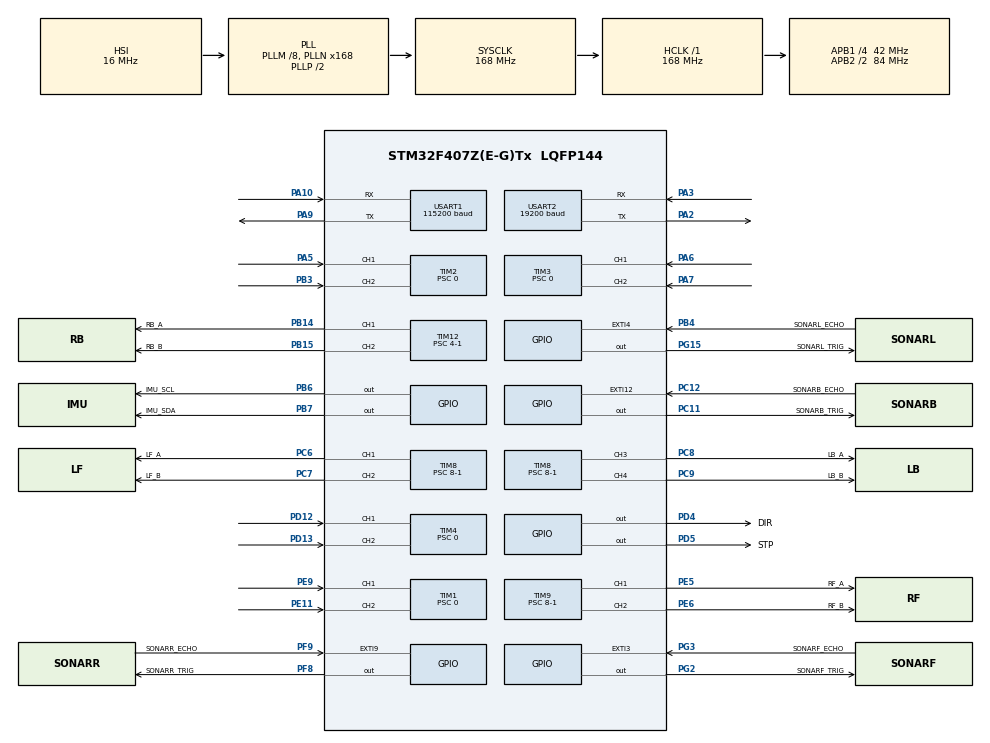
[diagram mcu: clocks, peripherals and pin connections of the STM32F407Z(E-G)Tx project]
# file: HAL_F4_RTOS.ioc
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FREERTOS.Tasks01=defaultTask,8,128,StartDefaultTask,Default,NULL,Dynamic,NULL,NULL;IMUData,40,512,StartIMUData,Default,NULL,Dynamic,NULL,NULL;wheelControl,24,1024,StartWheelControl,Default,NULL,Dynamic,NULL,NULL;wheelSpeed,40,512,StartWheelSpeed,Default,NULL,Dynamic,NULL,NULL;moveDecision,32,512,StartDecision,Default,NULL,Dynamic,NULL,NULL;stepperControl,24,512,StartStepperControl,Default,NULL,Dynamic,NULL,NULL;ultraSonar,40,1024,StartUltraSonar,Default,NULL,Dynamic,NULL,NULL;openmvCom,40,512,StartOpenmvCom,Default,NULL,Dynamic,NULL,NULL
FREERTOS.configTOTAL_HEAP_SIZE=30720
Mcu.Family=STM32F4
Mcu.Name=STM32F407Z(E-G)Tx
Mcu.Package=LQFP144
NVIC.EXTI15_10_IRQn=true\:5\:0\:false\:false\:true\:true\:true\:true
NVIC.EXTI3_IRQn=true\:5\:0\:false\:false\:true\:true\:true\:true
NVIC.EXTI4_IRQn=true\:5\:0\:false\:false\:true\:true\:true\:true
NVIC.EXTI9_5_IRQn=true\:5\:0\:false\:false\:true\:true\:true\:true
NVIC.PriorityGroup=NVIC_PRIORITYGROUP_4
NVIC.TIM7_IRQn=true\:5\:0\:false\:false\:true\:true\:true\:true
NVIC.TIM8_UP_TIM13_IRQn=true\:0\:0\:false\:false\:true\:false\:false\:true
NVIC.TimeBase=TIM8_UP_TIM13_IRQn
NVIC.TimeBaseIP=TIM13
NVIC.USART1_IRQn=true\:5\:0\:false\:false\:true\:true\:true\:true
NVIC.USART2_IRQn=true\:5\:0\:false\:false\:true\:true\:true\:true
PA0-WKUP.Mode=SYS_WakeUp0
PA0-WKUP.Signal=SYS_WKUP
PA10.Mode=Asynchronous
PA10.Signal=USART1_RX
PA13.Mode=Serial_Wire
PA13.Signal=SYS_JTMS-SWDIO
PA14.Mode=Serial_Wire
PA14.Signal=SYS_JTCK-SWCLK
PA2.Mode=Asynchronous
PA2.Signal=USART2_TX
PA3.Mode=Asynchronous
PA3.Signal=USART2_RX
PA5.Signal=S_TIM2_CH1_ETR
PA6.Signal=S_TIM3_CH1
PA7.Signal=S_TIM3_CH2
PA9.Mode=Asynchronous
PA9.Signal=USART1_TX
PB14.GPIO_Label=RB_A
PB14.Signal=S_TIM12_CH1
PB15.GPIO_Label=RB_B
PB15.Signal=S_TIM12_CH2
PB3.Signal=S_TIM2_CH2
PB4.GPIO_Label=SONARL_ECHO
PB4.GPIO_ModeDefaultEXTI=GPIO_MODE_IT_RISING_FALLING
PB4.GPIO_PuPd=GPIO_NOPULL
PB4.Signal=GPXTI4
PB6.GPIO_Label=IMU_SCL
PB6.GPIO_ModeDefaultOutputPP=GPIO_MODE_OUTPUT_OD
PB6.PinState=GPIO_PIN_SET
PB6.Signal=GPIO_Output
PB7.GPIO_Label=IMU_SDA
PB7.GPIO_ModeDefaultOutputPP=GPIO_MODE_OUTPUT_OD
PB7.PinState=GPIO_PIN_SET
PB7.Signal=GPIO_Output
PC11.GPIO_Label=SONARB_TRIG
PC11.Signal=GPIO_Output
PC12.GPIO_Label=SONARB_ECHO
PC12.GPIO_ModeDefaultEXTI=GPIO_MODE_IT_RISING_FALLING
PC12.GPIO_PuPd=GPIO_NOPULL
PC12.Signal=GPXTI12
PC6.GPIO_Label=LF_A
PC6.Signal=S_TIM8_CH1
PC7.GPIO_Label=LF_B
PC7.Signal=S_TIM8_CH2
PC8.GPIO_Label=LB_A
PC8.Signal=S_TIM8_CH3
PC9.GPIO_Label=LB_B
PC9.Signal=S_TIM8_CH4
PD12.Signal=S_TIM4_CH1
PD13.Signal=S_TIM4_CH2
PD4.GPIO_Label=DIR
PD4.Signal=GPIO_Output
PD5.GPIO_Label=STP
PD5.Signal=GPIO_Output
PE11.Signal=S_TIM1_CH2
PE5.GPIO_Label=RF_A
PE5.Signal=S_TIM9_CH1
PE6.GPIO_Label=RF_B
PE6.Signal=S_TIM9_CH2
PE9.Signal=S_TIM1_CH1
PF8.GPIO_Label=SONARR_TRIG
PF8.Signal=GPIO_Output
PF9.GPIO_Label=SONARR_ECHO
PF9.GPIO_ModeDefaultEXTI=GPIO_MODE_IT_RISING_FALLING
PF9.GPIO_PuPd=GPIO_NOPULL
PF9.Signal=GPXTI9
PG15.GPIO_Label=SONARL_TRIG
PG15.Signal=GPIO_Output
PG2.GPIO_Label=SONARF_TRIG
PG2.Signal=GPIO_Output
PG3.GPIO_Label=SONARF_ECHO
PG3.GPIO_ModeDefaultEXTI=GPIO_MODE_IT_RISING_FALLING
PG3.GPIO_PuPd=GPIO_NOPULL
PG3.Signal=GPXTI3
PH0-OSC_IN.Mode=HSE-External-Oscillator
PH0-OSC_IN.Signal=RCC_OSC_IN
PH1-OSC_OUT.Mode=HSE-External-Oscillator
PH1-OSC_OUT.Signal=RCC_OSC_OUT
ProjectManager.HeapSize=0x200
ProjectManager.StackSize=0x400
ProjectManager.TargetToolchain=MDK-ARM V5.27
RCC.48MHZClocksFreq_Value=84000000
RCC.AHBFreq_Value=168000000
RCC.APB1CLKDivider=RCC_HCLK_DIV4
RCC.APB1Freq_Value=42000000
RCC.APB1TimFreq_Value=84000000
RCC.APB2CLKDivider=RCC_HCLK_DIV2
RCC.APB2Freq_Value=84000000
RCC.APB2TimFreq_Value=168000000
RCC.CortexFreq_Value=168000000
RCC.HCLKFreq_Value=168000000
RCC.HSE_VALUE=25000000
RCC.HSI_VALUE=16000000
RCC.LSE_VALUE=32768
RCC.PLLM=8
RCC.PLLN=168
RCC.SYSCLKFreq_VALUE=168000000
RCC.SYSCLKSource=RCC_SYSCLKSOURCE_PLLCLK
RCC.VCOOutputFreq_Value=336000000
SH.S_TIM12_CH1.0=TIM12_CH1,PWM Generation1 CH1
SH.S_TIM12_CH2.0=TIM12_CH2,PWM Generation2 CH2
SH.S_TIM1_CH1.0=TIM1_CH1,Encoder_Interface
SH.S_TIM1_CH2.0=TIM1_CH2,Encoder_Interface
SH.S_TIM2_CH1_ETR.0=TIM2_CH1,Encoder_Interface
SH.S_TIM2_CH2.0=TIM2_CH2,Encoder_Interface
SH.S_TIM3_CH1.0=TIM3_CH1,Encoder_Interface
SH.S_TIM3_CH2.0=TIM3_CH2,Encoder_Interface
SH.S_TIM4_CH1.0=TIM4_CH1,Encoder_Interface
SH.S_TIM4_CH2.0=TIM4_CH2,Encoder_Interface
SH.S_TIM8_CH1.0=TIM8_CH1,PWM Generation1 CH1
SH.S_TIM8_CH2.0=TIM8_CH2,PWM Generation2 CH2
SH.S_TIM8_CH3.0=TIM8_CH3,PWM Generation3 CH3
SH.S_TIM8_CH4.0=TIM8_CH4,PWM Generation4 CH4
SH.S_TIM9_CH1.0=TIM9_CH1,PWM Generation1 CH1
SH.S_TIM9_CH2.0=TIM9_CH2,PWM Generation2 CH2
TIM1.AutoReloadPreload=TIM_AUTORELOAD_PRELOAD_DISABLE
TIM1.EncoderMode=TIM_ENCODERMODE_TI12
TIM1.Period=5000
TIM1.Prescaler=0
TIM12.AutoReloadPreload=TIM_AUTORELOAD_PRELOAD_ENABLE
TIM12.Channel-PWM\ Generation1\ CH1=TIM_CHANNEL_1
TIM12.Channel-PWM\ Generation2\ CH2=TIM_CHANNEL_2
TIM12.Period=1000
TIM12.Prescaler=4-1
TIM14.AutoReloadPreload=TIM_AUTORELOAD_PRELOAD_ENABLE
TIM14.Period=65535
TIM14.Prescaler=84-1
TIM2.AutoReloadPreload=TIM_AUTORELOAD_PRELOAD_DISABLE
TIM2.EncoderMode=TIM_ENCODERMODE_TI12
TIM2.Period=5000
TIM2.Prescaler=0
TIM3.AutoReloadPreload=TIM_AUTORELOAD_PRELOAD_DISABLE
TIM3.EncoderMode=TIM_ENCODERMODE_TI12
TIM3.Period=5000
TIM3.Prescaler=0
TIM4.AutoReloadPreload=TIM_AUTORELOAD_PRELOAD_DISABLE
TIM4.EncoderMode=TIM_ENCODERMODE_TI12
TIM4.Period=5000
TIM4.Prescaler=0
TIM6.AutoReloadPreload=TIM_AUTORELOAD_PRELOAD_ENABLE
TIM6.Period=65535
TIM6.Prescaler=84-1
TIM7.AutoReloadPreload=TIM_AUTORELOAD_PRELOAD_ENABLE
TIM7.Period=20000
TIM7.Prescaler=84-1
TIM8.AutoReloadPreload=TIM_AUTORELOAD_PRELOAD_ENABLE
TIM8.Channel-PWM\ Generation1\ CH1=TIM_CHANNEL_1
TIM8.Channel-PWM\ Generation2\ CH2=TIM_CHANNEL_2
TIM8.Channel-PWM\ Generation3\ CH3=TIM_CHANNEL_3
TIM8.Channel-PWM\ Generation4\ CH4=TIM_CHANNEL_4
TIM8.Period=1000
TIM8.Prescaler=8-1
TIM9.AutoReloadPreload=TIM_AUTORELOAD_PRELOAD_ENABLE
TIM9.Channel-PWM\ Generation1\ CH1=TIM_CHANNEL_1
TIM9.Channel-PWM\ Generation2\ CH2=TIM_CHANNEL_2
TIM9.Period=1000
TIM9.Prescaler=8-1
USART1.BaudRate=115200
USART1.Mode=MODE_TX_RX
USART1.VirtualMode=VM_ASYNC
USART2.BaudRate=19200
USART2.Mode=MODE_TX_RX
USART2.VirtualMode=VM_ASYNC
VP_FREERTOS_VS_CMSIS_V2.Mode=CMSIS_V2
VP_SYS_VS_tim13.Mode=TIM13
VP_TIM14_VS_ClockSourceINT.Mode=Enable_Timer
VP_TIM6_VS_ClockSourceINT.Mode=Enable_Timer
VP_TIM7_VS_ClockSourceINT.Mode=Enable_Timer
board=custom

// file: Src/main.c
/* USER CODE BEGIN Header */
/**
  ******************************************************************************
  * @file           : main.c
  * @brief          : Main program body
  ******************************************************************************
  * @attention
  *
  * <h2><center>&copy; Copyright (c) 2020 STMicroelectronics.
  * All rights reserved.</center></h2>
  *
  * This software component is licensed by ST under Ultimate Liberty license
  * SLA0044, the "License"; You may not use this file except in compliance with
  * the License. You may obtain a copy of the License at:
  *                             www.st.com/SLA0044
  *
  ******************************************************************************
  */
/* USER CODE END Header */

#include "main.h"
#include "cmsis_os.h"

/* USER CODE BEGIN Includes */
#include "stm32f4xx_hal.h"
#include "stdlib.h"
#include "stdio.h"
#include "math.h"
#include "myMath.h"
#include "pid.h"
#include "oled.h"
#include "bsp.h"
#include "it.h"
#include "motor.h"
#include "stepper.h"
#include "motion.h"
#include "mpu.h"
#include "inv_mpu.h"
#include "inv_mpu_dmp_motion_driver.h"
#include "ultraSonar.h"
/* USER CODE END Includes */

/* USER CODE BEGIN PD */
#define Pi 3.1416f
#define K2 1.414f
#define ANGLE_TH 85.0f
//#define PID_TEST
#define KINE
//#define DECISION_TEST
#define DECISION

/* USER CODE END PD */

TIM_HandleTypeDef htim1;
TIM_HandleTypeDef htim2;
TIM_HandleTypeDef htim3;
TIM_HandleTypeDef htim4;
TIM_HandleTypeDef htim6;
TIM_HandleTypeDef htim7;
TIM_HandleTypeDef htim8;
TIM_HandleTypeDef htim9;
TIM_HandleTypeDef htim12;
TIM_HandleTypeDef htim14;

UART_HandleTypeDef huart1;
UART_HandleTypeDef huart2;

osThreadId_t defaultTaskHandle;
osThreadId_t IMUDataHandle;
osThreadId_t wheelControlHandle;
osThreadId_t wheelSpeedHandle;
osThreadId_t moveDecisionHandle;
osThreadId_t stepperControlHandle;
osThreadId_t ultraSonarHandle;
osThreadId_t openmvComHandle;
/* USER CODE BEGIN PV */
extern MotionState *myRob;
extern Motor *motorLF;
extern Motor *motorLB;
extern Motor *motorRF;
extern Motor *motorRB;
extern Stepper *stepperFront;
extern Sonar *sonarF;
extern Sonar *sonarB;
extern Sonar *sonarL;
extern Sonar *sonarR;
extern ProtocolData *RxData;

float vx = 0.0f,vy = 0.0f,	//cm/s
	omega = 0.0f, // rad/s
	yaw_target = 0.0f;	// deg
float L = 16.0f, R = 3.0f;
int endFlag = 0;

/* USER CODE END PV */

void SystemClock_Config(void);
static void MX_GPIO_Init(void);
static void MX_TIM14_Init(void);
static void MX_TIM1_Init(void);
static void MX_TIM2_Init(void);
static void MX_TIM3_Init(void);
static void MX_TIM4_Init(void);
static void MX_TIM8_Init(void);
static void MX_TIM9_Init(void);
static void MX_TIM12_Init(void);
static void MX_TIM6_Init(void);
static void MX_USART1_UART_Init(void);
static void MX_USART2_UART_Init(void);
static void MX_TIM7_Init(void);
void StartDefaultTask(void *argument);
void StartIMUData(void *argument);
void StartWheelControl(void *argument);
void StartWheelSpeed(void *argument);
void StartDecision(void *argument);
void StartStepperControl(void *argument);
void StartUltraSonar(void *argument);
void StartOpenmvCom(void *argument);

int main(void)
{

  /* MCU Configuration--------------------------------------------------------*/

  /* Reset of all peripherals, Initializes the Flash interface and the Systick. */
  HAL_Init();

  /* Configure the system clock */
  SystemClock_Config();

  /* Initialize all configured peripherals */
  MX_GPIO_Init();
  MX_TIM14_Init();
  MX_TIM1_Init();
  MX_TIM2_Init();
  MX_TIM3_Init();
  MX_TIM4_Init();
  MX_TIM8_Init();
  MX_TIM9_Init();
  MX_TIM12_Init();
  MX_TIM6_Init();
  MX_USART1_UART_Init();
  MX_USART2_UART_Init();
  MX_TIM7_Init();
  /* USER CODE BEGIN 2 */
	BSP_Init();
  /* USER CODE END 2 */

  osKernelInitialize();

  /* Create the thread(s) */
  /* definition and creation of defaultTask */
  const osThreadAttr_t defaultTask_attributes = {
    .name = "defaultTask",
    .priority = (osPriority_t) osPriorityLow,
    .stack_size = 128
  };
  defaultTaskHandle = osThreadNew(StartDefaultTask, NULL, &defaultTask_attributes);

  /* definition and creation of IMUData */
  const osThreadAttr_t IMUData_attributes = {
    .name = "IMUData",
    .priority = (osPriority_t) osPriorityHigh,
    .stack_size = 512
  };
  IMUDataHandle = osThreadNew(StartIMUData, NULL, &IMUData_attributes);

  /* definition and creation of wheelControl */
  const osThreadAttr_t wheelControl_attributes = {
    .name = "wheelControl",
    .priority = (osPriority_t) osPriorityNormal,
    .stack_size = 1024
  };
  wheelControlHandle = osThreadNew(StartWheelControl, NULL, &wheelControl_attributes);

  /* definition and creation of wheelSpeed */
  const osThreadAttr_t wheelSpeed_attributes = {
    .name = "wheelSpeed",
    .priority = (osPriority_t) osPriorityHigh,
    .stack_size = 512
  };
  wheelSpeedHandle = osThreadNew(StartWheelSpeed, NULL, &wheelSpeed_attributes);

  /* definition and creation of moveDecision */
  const osThreadAttr_t moveDecision_attributes = {
    .name = "moveDecision",
    .priority = (osPriority_t) osPriorityAboveNormal,
    .stack_size = 512
  };
  moveDecisionHandle = osThreadNew(StartDecision, NULL, &moveDecision_attributes);

  /* definition and creation of stepperControl */
  const osThreadAttr_t stepperControl_attributes = {
    .name = "stepperControl",
    .priority = (osPriority_t) osPriorityNormal,
    .stack_size = 512
  };
  stepperControlHandle = osThreadNew(StartStepperControl, NULL, &stepperControl_attributes);

  /* definition and creation of ultraSonar */
  const osThreadAttr_t ultraSonar_attributes = {
    .name = "ultraSonar",
    .priority = (osPriority_t) osPriorityHigh,
    .stack_size = 1024
  };
  ultraSonarHandle = osThreadNew(StartUltraSonar, NULL, &ultraSonar_attributes);

  /* definition and creation of openmvCom */
  const osThreadAttr_t openmvCom_attributes = {
    .name = "openmvCom",
    .priority = (osPriority_t) osPriorityHigh,
    .stack_size = 512
  };
  openmvComHandle = osThreadNew(StartOpenmvCom, NULL, &openmvCom_attributes);

  /* Start scheduler */
  osKernelStart();

  /* We should never get here as control is now taken by the scheduler */

  /* Infinite loop */
  while (1)
  {

  }
}

void SystemClock_Config(void)
{
  RCC_OscInitTypeDef RCC_OscInitStruct = {0};
  RCC_ClkInitTypeDef RCC_ClkInitStruct = {0};

  /** Configure the main internal regulator output voltage
  */
  __HAL_RCC_PWR_CLK_ENABLE();
  __HAL_PWR_VOLTAGESCALING_CONFIG(PWR_REGULATOR_VOLTAGE_SCALE1);
  /** Initializes the CPU, AHB and APB busses clocks
  */
  RCC_OscInitStruct.OscillatorType = RCC_OSCILLATORTYPE_HSI;
  RCC_OscInitStruct.HSIState = RCC_HSI_ON;
  RCC_OscInitStruct.HSICalibrationValue = RCC_HSICALIBRATION_DEFAULT;
  RCC_OscInitStruct.PLL.PLLState = RCC_PLL_ON;
  RCC_OscInitStruct.PLL.PLLSource = RCC_PLLSOURCE_HSI;
  RCC_OscInitStruct.PLL.PLLM = 8;
  RCC_OscInitStruct.PLL.PLLN = 168;
  RCC_OscInitStruct.PLL.PLLP = RCC_PLLP_DIV2;
  RCC_OscInitStruct.PLL.PLLQ = 4;
  if (HAL_RCC_OscConfig(&RCC_OscInitStruct) != HAL_OK)
  {
    Error_Handler();
  }
  /** Initializes the CPU, AHB and APB busses clocks
  */
  RCC_ClkInitStruct.ClockType = RCC_CLOCKTYPE_HCLK|RCC_CLOCKTYPE_SYSCLK
                              |RCC_CLOCKTYPE_PCLK1|RCC_CLOCKTYPE_PCLK2;
  RCC_ClkInitStruct.SYSCLKSource = RCC_SYSCLKSOURCE_PLLCLK;
  RCC_ClkInitStruct.AHBCLKDivider = RCC_SYSCLK_DIV1;
  RCC_ClkInitStruct.APB1CLKDivider = RCC_HCLK_DIV4;
  RCC_ClkInitStruct.APB2CLKDivider = RCC_HCLK_DIV2;

  if (HAL_RCC_ClockConfig(&RCC_ClkInitStruct, FLASH_LATENCY_5) != HAL_OK)
  {
    Error_Handler();
  }
}

static void MX_TIM1_Init(void)
{

  TIM_Encoder_InitTypeDef sConfig = {0};
  TIM_MasterConfigTypeDef sMasterConfig = {0};

  htim1.Instance = TIM1;
  htim1.Init.Prescaler = 0;
  htim1.Init.CounterMode = TIM_COUNTERMODE_UP;
  htim1.Init.Period = 5000;
  htim1.Init.ClockDivision = TIM_CLOCKDIVISION_DIV1;
  htim1.Init.RepetitionCounter = 0;
  htim1.Init.AutoReloadPreload = TIM_AUTORELOAD_PRELOAD_DISABLE;
  sConfig.EncoderMode = TIM_ENCODERMODE_TI12;
  sConfig.IC1Polarity = TIM_ICPOLARITY_RISING;
  sConfig.IC1Selection = TIM_ICSELECTION_DIRECTTI;
  sConfig.IC1Prescaler = TIM_ICPSC_DIV1;
  sConfig.IC1Filter = 0;
  sConfig.IC2Polarity = TIM_ICPOLARITY_RISING;
  sConfig.IC2Selection = TIM_ICSELECTION_DIRECTTI;
  sConfig.IC2Prescaler = TIM_ICPSC_DIV1;
  sConfig.IC2Filter = 0;
  if (HAL_TIM_Encoder_Init(&htim1, &sConfig) != HAL_OK)
  {
    Error_Handler();
  }
  sMasterConfig.MasterOutputTrigger = TIM_TRGO_RESET;
  sMasterConfig.MasterSlaveMode = TIM_MASTERSLAVEMODE_DISABLE;
  if (HAL_TIMEx_MasterConfigSynchronization(&htim1, &sMasterConfig) != HAL_OK)
  {
    Error_Handler();
  }

}

static void MX_TIM2_Init(void)
{

  TIM_Encoder_InitTypeDef sConfig = {0};
  TIM_MasterConfigTypeDef sMasterConfig = {0};

  htim2.Instance = TIM2;
  htim2.Init.Prescaler = 0;
  htim2.Init.CounterMode = TIM_COUNTERMODE_UP;
  htim2.Init.Period = 5000;
  htim2.Init.ClockDivision = TIM_CLOCKDIVISION_DIV1;
  htim2.Init.AutoReloadPreload = TIM_AUTORELOAD_PRELOAD_DISABLE;
  sConfig.EncoderMode = TIM_ENCODERMODE_TI12;
  sConfig.IC1Polarity = TIM_ICPOLARITY_RISING;
  sConfig.IC1Selection = TIM_ICSELECTION_DIRECTTI;
  sConfig.IC1Prescaler = TIM_ICPSC_DIV1;
  sConfig.IC1Filter = 0;
  sConfig.IC2Polarity = TIM_ICPOLARITY_RISING;
  sConfig.IC2Selection = TIM_ICSELECTION_DIRECTTI;
  sConfig.IC2Prescaler = TIM_ICPSC_DIV1;
  sConfig.IC2Filter = 0;
  if (HAL_TIM_Encoder_Init(&htim2, &sConfig) != HAL_OK)
  {
    Error_Handler();
  }
  sMasterConfig.MasterOutputTrigger = TIM_TRGO_RESET;
  sMasterConfig.MasterSlaveMode = TIM_MASTERSLAVEMODE_DISABLE;
  if (HAL_TIMEx_MasterConfigSynchronization(&htim2, &sMasterConfig) != HAL_OK)
  {
    Error_Handler();
  }

}

static void MX_TIM3_Init(void)
{

  TIM_Encoder_InitTypeDef sConfig = {0};
  TIM_MasterConfigTypeDef sMasterConfig = {0};

  htim3.Instance = TIM3;
  htim3.Init.Prescaler = 0;
  htim3.Init.CounterMode = TIM_COUNTERMODE_UP;
  htim3.Init.Period = 5000;
  htim3.Init.ClockDivision = TIM_CLOCKDIVISION_DIV1;
  htim3.Init.AutoReloadPreload = TIM_AUTORELOAD_PRELOAD_DISABLE;
  sConfig.EncoderMode = TIM_ENCODERMODE_TI12;
  sConfig.IC1Polarity = TIM_ICPOLARITY_RISING;
  sConfig.IC1Selection = TIM_ICSELECTION_DIRECTTI;
  sConfig.IC1Prescaler = TIM_ICPSC_DIV1;
  sConfig.IC1Filter = 0;
  sConfig.IC2Polarity = TIM_ICPOLARITY_RISING;
  sConfig.IC2Selection = TIM_ICSELECTION_DIRECTTI;
  sConfig.IC2Prescaler = TIM_ICPSC_DIV1;
  sConfig.IC2Filter = 0;
  if (HAL_TIM_Encoder_Init(&htim3, &sConfig) != HAL_OK)
  {
    Error_Handler();
  }
  sMasterConfig.MasterOutputTrigger = TIM_TRGO_RESET;
  sMasterConfig.MasterSlaveMode = TIM_MASTERSLAVEMODE_DISABLE;
  if (HAL_TIMEx_MasterConfigSynchronization(&htim3, &sMasterConfig) != HAL_OK)
  {
    Error_Handler();
  }

}

static void MX_TIM4_Init(void)
{

  TIM_Encoder_InitTypeDef sConfig = {0};
  TIM_MasterConfigTypeDef sMasterConfig = {0};

  htim4.Instance = TIM4;
  htim4.Init.Prescaler = 0;
  htim4.Init.CounterMode = TIM_COUNTERMODE_UP;
  htim4.Init.Period = 5000;
  htim4.Init.ClockDivision = TIM_CLOCKDIVISION_DIV1;
  htim4.Init.AutoReloadPreload = TIM_AUTORELOAD_PRELOAD_DISABLE;
  sConfig.EncoderMode = TIM_ENCODERMODE_TI12;
  sConfig.IC1Polarity = TIM_ICPOLARITY_RISING;
  sConfig.IC1Selection = TIM_ICSELECTION_DIRECTTI;
  sConfig.IC1Prescaler = TIM_ICPSC_DIV1;
  sConfig.IC1Filter = 0;
  sConfig.IC2Polarity = TIM_ICPOLARITY_RISING;
  sConfig.IC2Selection = TIM_ICSELECTION_DIRECTTI;
  sConfig.IC2Prescaler = TIM_ICPSC_DIV1;
  sConfig.IC2Filter = 0;
  if (HAL_TIM_Encoder_Init(&htim4, &sConfig) != HAL_OK)
  {
    Error_Handler();
  }
  sMasterConfig.MasterOutputTrigger = TIM_TRGO_RESET;
  sMasterConfig.MasterSlaveMode = TIM_MASTERSLAVEMODE_DISABLE;
  if (HAL_TIMEx_MasterConfigSynchronization(&htim4, &sMasterConfig) != HAL_OK)
  {
    Error_Handler();
  }

}

static void MX_TIM6_Init(void)
{

  TIM_MasterConfigTypeDef sMasterConfig = {0};

  htim6.Instance = TIM6;
  htim6.Init.Prescaler = 84-1;
  htim6.Init.CounterMode = TIM_COUNTERMODE_UP;
  htim6.Init.Period = 65535;
  htim6.Init.AutoReloadPreload = TIM_AUTORELOAD_PRELOAD_ENABLE;
  if (HAL_TIM_Base_Init(&htim6) != HAL_OK)
  {
    Error_Handler();
  }
  sMasterConfig.MasterOutputTrigger = TIM_TRGO_RESET;
  sMasterConfig.MasterSlaveMode = TIM_MASTERSLAVEMODE_DISABLE;
  if (HAL_TIMEx_MasterConfigSynchronization(&htim6, &sMasterConfig) != HAL_OK)
  {
    Error_Handler();
  }

}

static void MX_TIM7_Init(void)
{

  TIM_MasterConfigTypeDef sMasterConfig = {0};

  htim7.Instance = TIM7;
  htim7.Init.Prescaler = 84-1;
  htim7.Init.CounterMode = TIM_COUNTERMODE_UP;
  htim7.Init.Period = 20000;
  htim7.Init.AutoReloadPreload = TIM_AUTORELOAD_PRELOAD_ENABLE;
  if (HAL_TIM_Base_Init(&htim7) != HAL_OK)
  {
    Error_Handler();
  }
  sMasterConfig.MasterOutputTrigger = TIM_TRGO_RESET;
  sMasterConfig.MasterSlaveMode = TIM_MASTERSLAVEMODE_DISABLE;
  if (HAL_TIMEx_MasterConfigSynchronization(&htim7, &sMasterConfig) != HAL_OK)
  {
    Error_Handler();
  }

}

static void MX_TIM8_Init(void)
{

  TIM_MasterConfigTypeDef sMasterConfig = {0};
  TIM_OC_InitTypeDef sConfigOC = {0};
  TIM_BreakDeadTimeConfigTypeDef sBreakDeadTimeConfig = {0};

  htim8.Instance = TIM8;
  htim8.Init.Prescaler = 8-1;
  htim8.Init.CounterMode = TIM_COUNTERMODE_UP;
  htim8.Init.Period = 1000;
  htim8.Init.ClockDivision = TIM_CLOCKDIVISION_DIV1;
  htim8.Init.RepetitionCounter = 0;
  htim8.Init.AutoReloadPreload = TIM_AUTORELOAD_PRELOAD_ENABLE;
  if (HAL_TIM_PWM_Init(&htim8) != HAL_OK)
  {
    Error_Handler();
  }
  sMasterConfig.MasterOutputTrigger = TIM_TRGO_RESET;
  sMasterConfig.MasterSlaveMode = TIM_MASTERSLAVEMODE_DISABLE;
  if (HAL_TIMEx_MasterConfigSynchronization(&htim8, &sMasterConfig) != HAL_OK)
  {
    Error_Handler();
  }
  sConfigOC.OCMode = TIM_OCMODE_PWM1;
  sConfigOC.Pulse = 0;
  sConfigOC.OCPolarity = TIM_OCPOLARITY_HIGH;
  sConfigOC.OCNPolarity = TIM_OCNPOLARITY_HIGH;
  sConfigOC.OCFastMode = TIM_OCFAST_DISABLE;
  sConfigOC.OCIdleState = TIM_OCIDLESTATE_RESET;
  sConfigOC.OCNIdleState = TIM_OCNIDLESTATE_RESET;
  if (HAL_TIM_PWM_ConfigChannel(&htim8, &sConfigOC, TIM_CHANNEL_1) != HAL_OK)
  {
    Error_Handler();
  }
  if (HAL_TIM_PWM_ConfigChannel(&htim8, &sConfigOC, TIM_CHANNEL_2) != HAL_OK)
  {
    Error_Handler();
  }
  if (HAL_TIM_PWM_ConfigChannel(&htim8, &sConfigOC, TIM_CHANNEL_3) != HAL_OK)
  {
    Error_Handler();
  }
  if (HAL_TIM_PWM_ConfigChannel(&htim8, &sConfigOC, TIM_CHANNEL_4) != HAL_OK)
  {
    Error_Handler();
  }
  sBreakDeadTimeConfig.OffStateRunMode = TIM_OSSR_DISABLE;
  sBreakDeadTimeConfig.OffStateIDLEMode = TIM_OSSI_DISABLE;
  sBreakDeadTimeConfig.LockLevel = TIM_LOCKLEVEL_OFF;
  sBreakDeadTimeConfig.DeadTime = 0;
  sBreakDeadTimeConfig.BreakState = TIM_BREAK_DISABLE;
  sBreakDeadTimeConfig.BreakPolarity = TIM_BREAKPOLARITY_HIGH;
  sBreakDeadTimeConfig.AutomaticOutput = TIM_AUTOMATICOUTPUT_DISABLE;
  if (HAL_TIMEx_ConfigBreakDeadTime(&htim8, &sBreakDeadTimeConfig) != HAL_OK)
  {
    Error_Handler();
  }
  HAL_TIM_MspPostInit(&htim8);

}

static void MX_TIM9_Init(void)
{

  TIM_OC_InitTypeDef sConfigOC = {0};

  htim9.Instance = TIM9;
  htim9.Init.Prescaler = 8-1;
  htim9.Init.CounterMode = TIM_COUNTERMODE_UP;
  htim9.Init.Period = 1000;
  htim9.Init.ClockDivision = TIM_CLOCKDIVISION_DIV1;
  htim9.Init.AutoReloadPreload = TIM_AUTORELOAD_PRELOAD_ENABLE;
  if (HAL_TIM_PWM_Init(&htim9) != HAL_OK)
  {
    Error_Handler();
  }
  sConfigOC.OCMode = TIM_OCMODE_PWM1;
  sConfigOC.Pulse = 0;
  sConfigOC.OCPolarity = TIM_OCPOLARITY_HIGH;
  sConfigOC.OCFastMode = TIM_OCFAST_DISABLE;
  if (HAL_TIM_PWM_ConfigChannel(&htim9, &sConfigOC, TIM_CHANNEL_1) != HAL_OK)
  {
    Error_Handler();
  }
  if (HAL_TIM_PWM_ConfigChannel(&htim9, &sConfigOC, TIM_CHANNEL_2) != HAL_OK)
  {
    Error_Handler();
  }
  HAL_TIM_MspPostInit(&htim9);

}

static void MX_TIM12_Init(void)
{

  TIM_OC_InitTypeDef sConfigOC = {0};

  htim12.Instance = TIM12;
  htim12.Init.Prescaler = 4-1;
  htim12.Init.CounterMode = TIM_COUNTERMODE_UP;
  htim12.Init.Period = 1000;
  htim12.Init.ClockDivision = TIM_CLOCKDIVISION_DIV1;
  htim12.Init.AutoReloadPreload = TIM_AUTORELOAD_PRELOAD_ENABLE;
  if (HAL_TIM_PWM_Init(&htim12) != HAL_OK)
  {
    Error_Handler();
  }
  sConfigOC.OCMode = TIM_OCMODE_PWM1;
  sConfigOC.Pulse = 0;
  sConfigOC.OCPolarity = TIM_OCPOLARITY_HIGH;
  sConfigOC.OCFastMode = TIM_OCFAST_DISABLE;
  if (HAL_TIM_PWM_ConfigChannel(&htim12, &sConfigOC, TIM_CHANNEL_1) != HAL_OK)
  {
    Error_Handler();
  }
  if (HAL_TIM_PWM_ConfigChannel(&htim12, &sConfigOC, TIM_CHANNEL_2) != HAL_OK)
  {
    Error_Handler();
  }
  HAL_TIM_MspPostInit(&htim12);

}

static void MX_TIM14_Init(void)
{

  htim14.Instance = TIM14;
  htim14.Init.Prescaler = 84-1;
  htim14.Init.CounterMode = TIM_COUNTERMODE_UP;
  htim14.Init.Period = 65535;
  htim14.Init.ClockDivision = TIM_CLOCKDIVISION_DIV1;
  htim14.Init.AutoReloadPreload = TIM_AUTORELOAD_PRELOAD_ENABLE;
  if (HAL_TIM_Base_Init(&htim14) != HAL_OK)
  {
    Error_Handler();
  }

}

static void MX_USART1_UART_Init(void)
{

  huart1.Instance = USART1;
  huart1.Init.BaudRate = 115200;
  huart1.Init.WordLength = UART_WORDLENGTH_8B;
  huart1.Init.StopBits = UART_STOPBITS_1;
  huart1.Init.Parity = UART_PARITY_NONE;
  huart1.Init.Mode = UART_MODE_TX_RX;
  huart1.Init.HwFlowCtl = UART_HWCONTROL_NONE;
  huart1.Init.OverSampling = UART_OVERSAMPLING_16;
  if (HAL_UART_Init(&huart1) != HAL_OK)
  {
    Error_Handler();
  }

}

static void MX_USART2_UART_Init(void)
{

  huart2.Instance = USART2;
  huart2.Init.BaudRate = 19200;
  huart2.Init.WordLength = UART_WORDLENGTH_8B;
  huart2.Init.StopBits = UART_STOPBITS_1;
  huart2.Init.Parity = UART_PARITY_NONE;
  huart2.Init.Mode = UART_MODE_TX_RX;
  huart2.Init.HwFlowCtl = UART_HWCONTROL_NONE;
  huart2.Init.OverSampling = UART_OVERSAMPLING_16;
  if (HAL_UART_Init(&huart2) != HAL_OK)
  {
    Error_Handler();
  }

}

static void MX_GPIO_Init(void)
{
  GPIO_InitTypeDef GPIO_InitStruct = {0};

  /* GPIO Ports Clock Enable */
  __HAL_RCC_GPIOE_CLK_ENABLE();
  __HAL_RCC_GPIOF_CLK_ENABLE();
  __HAL_RCC_GPIOH_CLK_ENABLE();
  __HAL_RCC_GPIOA_CLK_ENABLE();
  __HAL_RCC_GPIOB_CLK_ENABLE();
  __HAL_RCC_GPIOD_CLK_ENABLE();
  __HAL_RCC_GPIOG_CLK_ENABLE();
  __HAL_RCC_GPIOC_CLK_ENABLE();

  /*Configure GPIO pin Output Level */
  HAL_GPIO_WritePin(SONARR_TRIG_GPIO_Port, SONARR_TRIG_Pin, GPIO_PIN_RESET);

  /*Configure GPIO pin Output Level */
  HAL_GPIO_WritePin(GPIOG, SONARF_TRIG_Pin|SONARL_TRIG_Pin, GPIO_PIN_RESET);

  /*Configure GPIO pin Output Level */
  HAL_GPIO_WritePin(SONARB_TRIG_GPIO_Port, SONARB_TRIG_Pin, GPIO_PIN_RESET);

  /*Configure GPIO pin Output Level */
  HAL_GPIO_WritePin(GPIOD, DIR_Pin|STP_Pin, GPIO_PIN_RESET);

  /*Configure GPIO pin Output Level */
  HAL_GPIO_WritePin(GPIOB, IMU_SCL_Pin|IMU_SDA_Pin, GPIO_PIN_SET);

  /*Configure GPIO pin : SONARR_TRIG_Pin */
  GPIO_InitStruct.Pin = SONARR_TRIG_Pin;
  GPIO_InitStruct.Mode = GPIO_MODE_OUTPUT_PP;
  GPIO_InitStruct.Pull = GPIO_NOPULL;
  GPIO_InitStruct.Speed = GPIO_SPEED_FREQ_LOW;
  HAL_GPIO_Init(SONARR_TRIG_GPIO_Port, &GPIO_InitStruct);

  /*Configure GPIO pin : SONARR_ECHO_Pin */
  GPIO_InitStruct.Pin = SONARR_ECHO_Pin;
  GPIO_InitStruct.Mode = GPIO_MODE_IT_RISING_FALLING;
  GPIO_InitStruct.Pull = GPIO_NOPULL;
  HAL_GPIO_Init(SONARR_ECHO_GPIO_Port, &GPIO_InitStruct);

  /*Configure GPIO pins : SONARF_TRIG_Pin SONARL_TRIG_Pin */
  GPIO_InitStruct.Pin = SONARF_TRIG_Pin|SONARL_TRIG_Pin;
  GPIO_InitStruct.Mode = GPIO_MODE_OUTPUT_PP;
  GPIO_InitStruct.Pull = GPIO_NOPULL;
  GPIO_InitStruct.Speed = GPIO_SPEED_FREQ_LOW;
  HAL_GPIO_Init(GPIOG, &GPIO_InitStruct);

  /*Configure GPIO pin : SONARF_ECHO_Pin */
  GPIO_InitStruct.Pin = SONARF_ECHO_Pin;
  GPIO_InitStruct.Mode = GPIO_MODE_IT_RISING_FALLING;
  GPIO_InitStruct.Pull = GPIO_NOPULL;
  HAL_GPIO_Init(SONARF_ECHO_GPIO_Port, &GPIO_InitStruct);

  /*Configure GPIO pin : SONARB_TRIG_Pin */
  GPIO_InitStruct.Pin = SONARB_TRIG_Pin;
  GPIO_InitStruct.Mode = GPIO_MODE_OUTPUT_PP;
  GPIO_InitStruct.Pull = GPIO_NOPULL;
  GPIO_InitStruct.Speed = GPIO_SPEED_FREQ_LOW;
  HAL_GPIO_Init(SONARB_TRIG_GPIO_Port, &GPIO_InitStruct);

  /*Configure GPIO pin : SONARB_ECHO_Pin */
  GPIO_InitStruct.Pin = SONARB_ECHO_Pin;
  GPIO_InitStruct.Mode = GPIO_MODE_IT_RISING_FALLING;
  GPIO_InitStruct.Pull = GPIO_NOPULL;
  HAL_GPIO_Init(SONARB_ECHO_GPIO_Port, &GPIO_InitStruct);

  /*Configure GPIO pins : DIR_Pin STP_Pin */
  GPIO_InitStruct.Pin = DIR_Pin|STP_Pin;
  GPIO_InitStruct.Mode = GPIO_MODE_OUTPUT_PP;
  GPIO_InitStruct.Pull = GPIO_NOPULL;
  GPIO_InitStruct.Speed = GPIO_SPEED_FREQ_LOW;
  HAL_GPIO_Init(GPIOD, &GPIO_InitStruct);

  /*Configure GPIO pin : SONARL_ECHO_Pin */
  GPIO_InitStruct.Pin = SONARL_ECHO_Pin;
  GPIO_InitStruct.Mode = GPIO_MODE_IT_RISING_FALLING;
  GPIO_InitStruct.Pull = GPIO_NOPULL;
  HAL_GPIO_Init(SONARL_ECHO_GPIO_Port, &GPIO_InitStruct);

  /*Configure GPIO pins : IMU_SCL_Pin IMU_SDA_Pin */
  GPIO_InitStruct.Pin = IMU_SCL_Pin|IMU_SDA_Pin;
  GPIO_InitStruct.Mode = GPIO_MODE_OUTPUT_OD;
  GPIO_InitStruct.Pull = GPIO_NOPULL;
  GPIO_InitStruct.Speed = GPIO_SPEED_FREQ_LOW;
  HAL_GPIO_Init(GPIOB, &GPIO_InitStruct);

  /* EXTI interrupt init*/
  HAL_NVIC_SetPriority(EXTI3_IRQn, 5, 0);
  HAL_NVIC_EnableIRQ(EXTI3_IRQn);

  HAL_NVIC_SetPriority(EXTI4_IRQn, 5, 0);
  HAL_NVIC_EnableIRQ(EXTI4_IRQn);

  HAL_NVIC_SetPriority(EXTI9_5_IRQn, 5, 0);
  HAL_NVIC_EnableIRQ(EXTI9_5_IRQn);

  HAL_NVIC_SetPriority(EXTI15_10_IRQn, 5, 0);
  HAL_NVIC_EnableIRQ(EXTI15_10_IRQn);

}

void StartDefaultTask(void *argument)
{
  for(;;)
  {
    osDelay(1);
  }
}

void StartIMUData(void *argument)
{
  /* USER CODE BEGIN StartIMUData */
	float pitch = 0,roll = 0,yaw = 0;
//	short aacx = 0,aacy = 0,aacz = 0;
//	short gyrox = 0,gyroy = 0,gyroz= 0;
//	short temp = 0;
  /* Infinite loop */
  for(;;)
  {
//	taskENTER_CRITICAL();

	if(mpu_dmp_get_data(&pitch,&roll,&yaw)==0)
	{
//			temp = MPU_Get_Temperature();
//			MPU_Get_Accelerometer(&aacx,&aacy,&aacz);
//			MPU_Get_Gyroscope(&gyrox,&gyroy,&gyroz);
//			myRob->aacx = aacx;
//			myRob->aacy = -aacy;
//			myRob->aacz = -aacz;
//			myRob->gyrox = gyrox;
//			myRob->gyroy = -gyroy;
//			myRob->gyroz = -gyroz;
			myRob->roll = roll;
			myRob->pitch = -pitch;
			myRob->yaw = -yaw;
//			myRob->temp = temp;
		//printf("pitch = %f, yaw = %f, roll = %f\n", myRob->pitch, myRob->yaw, myRob->roll);
	}

//	taskEXIT_CRITICAL();
    osDelay(20);
  }
  /* USER CODE END StartIMUData */
}

void StartWheelControl(void *argument)
{
  /* USER CODE BEGIN StartWheelControl */
//	PID_Typedef *LF_PID = PID_Init(POSITION,6,1.2,0.2,1,1000,0);
//	PID_Typedef *LB_PID = PID_Init(POSITION,6,1.2,0.2,1,1000,0);
//	PID_Typedef *RF_PID = PID_Init(POSITION,6,1.2,0.2,1,1000,0);
//	PID_Typedef *RB_PID = PID_Init(POSITION,6,1.2,0.2,1,1000,0);
	PID_Typedef *OMG_PID = PID_Init(POSITION,0.025,0.0000,0.0012,2,3,-3);
//	int pwmLF = 0, pwmLB = 0, pwmRF = 0, pwmRB = 0;
  /* Infinite loop */
  for(;;)
  {
	  taskENTER_CRITICAL();
	  omega = PID_Calc(OMG_PID,yaw_target,myRob->yaw);
	  taskEXIT_CRITICAL();

	  #ifdef KINE
	  motorLF->TargetSpeed = (int)((-vx/K2	-vy/K2	-omega*L)/R * (30/Pi));
	  motorLB->TargetSpeed = (int)((-vx/K2	+vy/K2	-omega*L)/R * (30/Pi));
	  motorRF->TargetSpeed = (int)((+vx/K2	-vy/K2	-omega*L)/R * (30/Pi));
	  motorRB->TargetSpeed = (int)((+vx/K2	+vy/K2	-omega*L)/R * (30/Pi));
	  #endif

	  #ifdef PID_TEST
	  motorLF->TargetSpeed = 60;
	  motorLB->TargetSpeed = 60;
	  motorRF->TargetSpeed = 60;
	  motorRB->TargetSpeed = 60;
	  #endif

	osDelay(20);
  }
  /* USER CODE END StartWheelControl */
}

void StartWheelSpeed(void *argument)
{
  /* USER CODE BEGIN StartWheelSpeed */
  /* Infinite loop */
  for(;;)
  {
	  //measure the speed of 4 motors
	  /*
	  MotorSpeedMeasure(motorLF);
	  MotorSpeedMeasure(motorLB);
	  MotorSpeedMeasure(motorRF);
	  MotorSpeedMeasure(motorRB);
	  */
//	printf("%d,%d,%d,%d\n",motorLF->Speed,motorLB->Speed,motorRF->Speed,motorRB->Speed);
    osDelay(20);
  }
  /* USER CODE END StartWheelSpeed */
}

void StartDecision(void *argument)
{
  /* USER CODE BEGIN StartDecision */
	float angle = 0.0f;
	int state = 0, dir_state = 0;
	int endState = 0;
  /* Infinite loop */
  for(;;)
  {
	  #ifdef DECISION_TEST
	  vx = 0.0f;
	  vy = 0.0f;
	  yaw_target = 0.0f;
	  #endif
	  #ifdef DECISION
	  if(endFlag == 0)
	  {
		  if(myRob->target == 0)			//No targets are found
		  {
			  yaw_target = 0.0f;
			  //go back after bumping
			  if(state == 1)
			  {
				  vx = 0.0f;
				  vy = -25.0f;
				  state = 0;
				  osDelay(600);
			  }
			  else if(state == 2)
			  {
				  vx = 0.0f;
				  vy = 25.0f;
				  state = 0;
				  osDelay(600);
			  }
		  //move to find lighthouse
			  else
			  {
				  if(dir_state == 0)
				  {
					vx = 20.0f;
					vy = 0.0f;
					if(myRob->dF < 45.0f && myRob->dB >= 45.0f)
					{
						dir_state = 1;
					}
					else if(myRob->dF < 45.0f && myRob->dB < 45.0f)
					{
						if(myRob->dR < 45.0f)
						{
							dir_state = 2;
						}
						else if(myRob->dL < 45.0f)
						{
							dir_state = 3;
						}
						else
						{
							dir_state = 2;
						}
					}
					else
					{
						dir_state = 0;
					}
				  }
				  else if(dir_state == 1)
				  {
					vx = -20.0f;
					vy = 0.0f;
					if(myRob->dB < 45.0f && myRob->dF >= 45.0f)
					{
						dir_state = 0;
					}
					else if(myRob->dB < 45.0f && myRob->dF < 45.0f)
					{
						if(myRob->dR < 45.0f)
						{
							dir_state = 2;
						}
						else if(myRob->dL < 45.0f)
						{
							dir_state = 3;
						}
						else
						{
							dir_state = 2;
						}
					}
					else
					{
						dir_state = 1;
					}
				  }
				  else if(dir_state == 2)
				  {
					  vx = 0.0f;
					  vy = -20.0f;
					if(myRob->dL < 45.0f)
					{
						dir_state = 3;
					}
					else
					{
						if(myRob->dF > 45.0f)
						{
							dir_state = 0;
						}
						else if(myRob->dB > 45.0f)
						{
							dir_state = 1;
						}
						else
						{
							dir_state = 2;
						}
					}
				  }
				  else if(dir_state == 3)
				  {
					  vx = 0.0f;
					  vy = 20.0f;
					if(myRob->dR < 45.0f)
					{
						dir_state = 2;
					}
					else
					{
						if(myRob->dF > 45.0f)
						{
							dir_state = 0;
						}
						else if(myRob->dB > 45.0f)
						{
							dir_state = 1;
						}
						else
						{
							dir_state = 3;
						}
					}
				  }
			  }

			  osDelay(25);
		  }
		  else if(myRob->target == 1)	//target is found
		  {
			  // -360~360 to -180~180
			  angle = DegRange180(myRob->yaw + stepperFront->pos);
			  yaw_target = 0.0f;

			  if(fabs(angle) < ANGLE_TH) 			//yaw is small
			  {
				  if(fabs(yaw_target-myRob->yaw)>2)
				  {
					  vx = 0.0f;
					  vy = 0.0f;
				  }
				  else
				  {
					  vx = 25.0f;
					  vy = 0.0f;
				  }
			  }
			  else if( fabs(angle) > (180.0f - ANGLE_TH) )
			  {
				  if(fabs(yaw_target-myRob->yaw)>2)
				  {
					  vx = 0.0f;
					  vy = 0.0f;
				  }
				  else
				  {
					  vx = -25.0f;
					  vy = 0.0f;
				  }
			  }
			  else 						//yaw is large enough
			  {
				  if(angle>0.0f)
				  {
					  vy = 25.0f;
					  vx = 0.0f;
					  state = 1;
				  }
				  else
				  {
					  vy = -25.0f;
					  vx = 0.0f;
					  state = 2;
				  }
			  }
		  }
		  else 							//Not used
		  {

		  }
	  }
	  else if(endFlag == 1)
	  {
			if(endState == 0)
			{
				vx = -25.0f;
				vy = 0.0f;
				if(myRob->dB < 45.0f)
				{
					endState = 1;
				}
				else
				{
					endState = 0;
				}
			}
			else if(endState == 1)
			{
				vx = 0.0f;
				vy = -25.0f;
				if(myRob->target == 1 && ABS(myRob->pixel_dx) < 5 )
				{
					endState = 3;
				}
				else if(myRob->dL < 45.0f)
				{
					endState = 2;
				}
				else
				{
					endState = 1;
				}
			}
			else if(endState == 2)
			{
				vx = 0.0f;
				vy = 25.0f;
				if(myRob->target == 1 && ABS(myRob->pixel_dx) < 5 )
				{
					endState = 3;
				}
				else if(myRob->dR < 45.0f)
				{
					endState = 1;
				}
				else
				{
					endState = 2;
				}
			}
			else if(endState == 3)
			{
				vx = -10.0f;
				vy = 0.0f;
				if(myRob->dB < 10.0f)
				{
					endState = 4;
				}
				else
				{
					endState = 3;
				}
			}
			else if(endState == 4)
			{
				vx = 0.0f;
				vy = 0.0f;
			}
		}
	#endif
    osDelay(20);
  }
  /* USER CODE END StartDecision */
}

void StartStepperControl(void *argument)
{
  /* USER CODE BEGIN StartStepperControl */
	PID_Typedef *STP_PID = PID_Init(POSITION,0.05,0.0,0.006,2,5,-5);
	float angle_target = 0.0f;  char str[15];
	int steps = 0;
  /* Infinite loop */
  for(;;)
  {
	 if(endFlag == 0)
	 {
		if(myRob->target == 1)
		{
			angle_target = PID_Calc(STP_PID,0,myRob->pixel_dx);
			steps = (int)ABS((angle_target/1.8f*8.0f));
			sprintf(str,"%.4f*\n",angle_target);

			HAL_UART_Transmit(&huart1,(uint8_t *)(str),strlen(str),10);
			osDelay(20);
			if(angle_target>0)
			{
				stepperFront->pos += steps*1.8f/8.0f;
			}
			else
			{
				stepperFront->pos -= steps*1.8f/8.0f;
			}
		}
		else
		{
			angle_target = -36.0f;
			steps = (int)ABS((angle_target/1.8f*8.0f));
			sprintf(str,"%.4f*\n",angle_target);

			HAL_UART_Transmit(&huart1,(uint8_t *)(str),strlen(str),10);
			osDelay(650);
			if(angle_target>0)
			{
				stepperFront->pos += steps*1.8f/8.0f;
			}
			else
			{
				stepperFront->pos -= steps*1.8f/8.0f;
			}
		}
		stepperFront->pos = DegRange180(stepperFront->pos);
	}
	 else if(endFlag == 1)
	 {
		 if(stepperFront->pos > 0.0f)
		 {
			angle_target = 180.0f - stepperFront->pos;
		 }
		 else
		 {
			angle_target = -180.0f - stepperFront->pos;
		 }
		steps = (int)ABS((angle_target/1.8f*8.0f));
		sprintf(str,"%.4f*\n",angle_target);
		HAL_UART_Transmit(&huart1,(uint8_t *)(str),strlen(str),10);
		osDelay(1000);
		if(angle_target>0)
		{
			stepperFront->pos += steps*1.8f/8.0f;
		}
		else
		{
			stepperFront->pos -= steps*1.8f/8.0f;
		}
	 }
  }
  /* USER CODE END StartStepperControl */
}

void StartUltraSonar(void *argument)
{
  /* USER CODE BEGIN StartUltraSonar */
	float distF[5] = {300.0f, 300.0f, 300.0f, 300.0f, 300.0f};
	float distB[5] = {300.0f, 300.0f, 300.0f, 300.0f, 300.0f};
	float distL[5] = {300.0f, 300.0f, 300.0f, 300.0f, 300.0f};
	float distR[5] = {300.0f, 300.0f, 300.0f, 300.0f, 300.0f};
	int count = 0;
  /* Infinite loop */
  for(;;)
  {
	osDelay(10);
	SonarTrig(sonarF);
	SonarTrig(sonarB);
	SonarTrig(sonarL);
	SonarTrig(sonarR);
    osDelay(100);
	distF[count] = SonarMeasure(sonarF);
	distB[count] = SonarMeasure(sonarB);
	distL[count] = SonarMeasure(sonarL);
	distR[count] = SonarMeasure(sonarR);
	count++;
	if(count == 5)
	{
		qsort(distF,5,sizeof(float),CmpFloat);
		qsort(distB,5,sizeof(float),CmpFloat);
		qsort(distL,5,sizeof(float),CmpFloat);
		qsort(distR,5,sizeof(float),CmpFloat);
		myRob->dF = (distF[1]+distF[2]+distF[3])/3.0f;
		myRob->dB = (distB[1]+distB[2]+distB[3])/3.0f;
		myRob->dL = (distL[1]+distL[2]+distL[3])/3.0f;
		myRob->dR = (distR[1]+distR[2]+distR[3])/3.0f;
		count = 0;
	}
  }
  /* USER CODE END StartUltraSonar */
}

void StartOpenmvCom(void *argument)
{
  /* USER CODE BEGIN StartOpenmvCom */

  /* Infinite loop */
  for(;;)
  {
	taskENTER_CRITICAL();
	if(RxData->color == LOST)
	{
		myRob->target = 0;
	}
	else if(RxData->color == GREEN || RxData->color == RED ||RxData->color == BLUE)
	{
		myRob->target = 1;
	}
	else
	{
		myRob->target = 0;
	}
	myRob->pixel_dx = RxData->dx;
	myRob->pixel_dy = RxData->dy;
	taskEXIT_CRITICAL();
    osDelay(20);
  }
  /* USER CODE END StartOpenmvCom */
}

void HAL_TIM_PeriodElapsedCallback(TIM_HandleTypeDef *htim)
{
  if (htim->Instance == TIM13) {
    HAL_IncTick();
  }
}

void Error_Handler(void)
{
}

/************************ (C) COPYRIGHT STMicroelectronics *****END OF FILE****/
